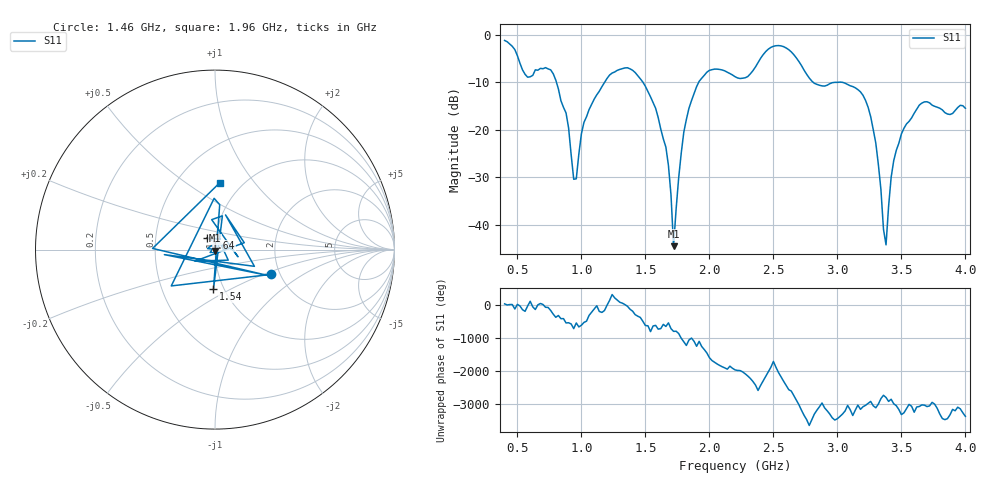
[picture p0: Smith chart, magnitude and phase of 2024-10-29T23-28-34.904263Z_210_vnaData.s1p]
!Created with skrf (http://scikit-rf.org).
# Hz S RI R 50.0
!freq ReS11 ImS11
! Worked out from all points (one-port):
!   181 points, 400 MHz to 4 GHz, reference 50 ohm
!   lowest |S11| = -44.5 dB at 1.72 GHz (marker M1), VSWR 1.01, Z = 50 - j0.597 ohm
!   |S11| at or under -10 dB: 804.6 MHz to 1.182 GHz (377.5 MHz wide, 38 % of centre); 1.48 GHz to 1.917 GHz (436.6 MHz wide, 25.7 % of centre); 3.023 GHz to end of sweep (the widest 3 of 4)
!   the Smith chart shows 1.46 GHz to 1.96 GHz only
!   S11 on the Smith chart (normalised r, x): 1.46 GHz: 1.80, -0.56; 1.54 GHz: 0.89, -0.42; 1.64 GHz: 0.90, +0.12; 1.96 GHz: 0.79, +0.68
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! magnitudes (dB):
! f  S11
! 400 MHz  -1.2
! 580 MHz  -9.0
! 760 MHz  -7.4
! 860 MHz  -15.3
! 940 MHz  -30.4
! 960 MHz  -30.3
! 1.02 GHz  -18.4
! 1.3 GHz  -7.3
! 1.46 GHz  -9.3
! 1.54 GHz  -13.1
! 1.64 GHz  -21.9
! 1.68 GHz  -27.5
! 1.72 GHz  -44.5
! 1.76 GHz  -30.1
! 1.84 GHz  -15.5
! 1.96 GHz  -8.6
! 2.2 GHz  -8.8
! 2.5 GHz  -2.5
! 2.66 GHz  -4.2
! 2.82 GHz  -10.2
! 3.1 GHz  -10.8
! 3.26 GHz  -17.2
! 3.3 GHz  -22.8
! 3.38 GHz  -44.2
! 3.44 GHz  -26.5
! 3.56 GHz  -18.2
! 3.68 GHz  -14.1
! 4 GHz  -15.5
